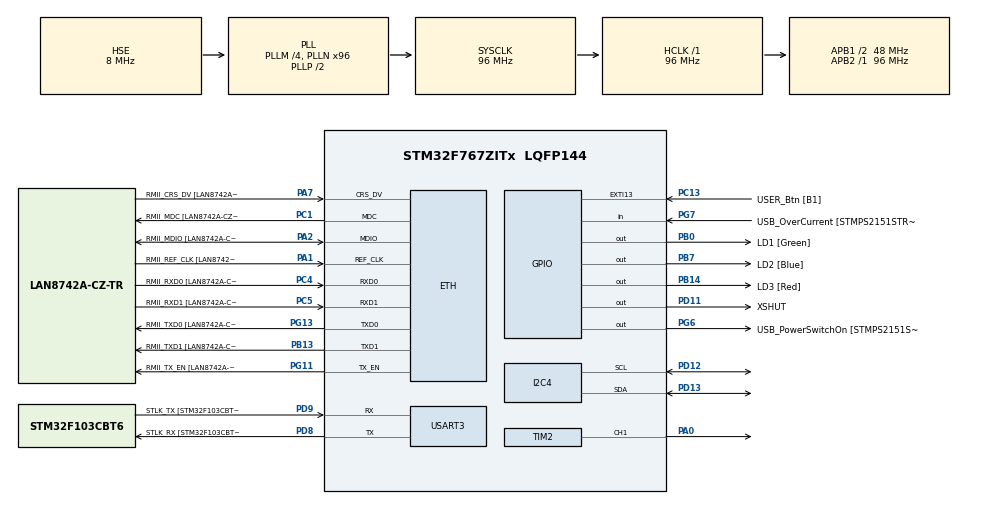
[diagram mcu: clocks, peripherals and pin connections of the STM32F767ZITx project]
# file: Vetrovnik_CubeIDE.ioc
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ETH.MediaInterface=ETH_MEDIA_INTERFACE_RMII
ETH.PHY_Name=LAN8742A_PHY_ADDRESS
ETH.PHY_Value=0
ETH.PhyAddress=0
I2C4.Timing=0x20303E5D
LWIP.LWIP_DHCP=1
LWIP.Version=v2.1.2_Cube
Mcu.Family=STM32F7
Mcu.Name=STM32F767ZITx
Mcu.Package=LQFP144
NVIC.PriorityGroup=NVIC_PRIORITYGROUP_4
NVIC.TIM3_IRQn=true\:2\:0\:true\:false\:true\:true\:true
NVIC.TIM5_IRQn=true\:1\:0\:true\:false\:true\:true\:true
NVIC.USART3_IRQn=true\:0\:0\:false\:false\:true\:true\:true
PA0/WKUP.Signal=S_TIM2_CH1_ETR
PA1.GPIO_Label=RMII_REF_CLK [LAN8742A-CZ-TR_REFCLK0]
PA1.Mode=RMII
PA1.Signal=ETH_REF_CLK
PA10.GPIO_Label=USB_ID
PA10.Signal=USB_OTG_FS_ID
PA11.GPIO_Label=USB_DM
PA11.Signal=USB_OTG_FS_DM
PA12.GPIO_Label=USB_DP
PA12.Signal=USB_OTG_FS_DP
PA13.GPIO_Label=TMS
PA13.Mode=Serial_Wire
PA13.Signal=SYS_JTMS-SWDIO
PA14.GPIO_Label=TCK
PA14.Mode=Serial_Wire
PA14.Signal=SYS_JTCK-SWCLK
PA2.GPIO_Label=RMII_MDIO [LAN8742A-CZ-TR_MDIO]
PA2.Mode=RMII
PA2.Signal=ETH_MDIO
PA7.GPIO_Label=RMII_CRS_DV [LAN8742A-CZ-TR_CRS_DV]
PA7.Mode=RMII
PA7.Signal=ETH_CRS_DV
PA8.GPIO_Label=USB_SOF [TP1]
PA8.Signal=USB_OTG_FS_SOF
PA9.GPIO_Label=USB_VBUS
PA9.Signal=USB_OTG_FS_VBUS
PB0.GPIO_Label=LD1 [Green]
PB0.Signal=GPIO_Output
PB13.GPIO_Label=RMII_TXD1 [LAN8742A-CZ-TR_TXD1]
PB13.Mode=RMII
PB13.Signal=ETH_TXD1
PB14.GPIO_Label=LD3 [Red]
PB14.Signal=GPIO_Output
PB3.GPIO_Label=SWO
PB3.Signal=SYS_JTDO-SWO
PB7.GPIO_Label=LD2 [Blue]
PB7.Signal=GPIO_Output
PC1.GPIO_Label=RMII_MDC [LAN8742A-CZ-TR_MDC]
PC1.Mode=RMII
PC1.Signal=ETH_MDC
PC13.GPIO_Label=USER_Btn [B1]
PC13.Signal=GPXTI13
PC14/OSC32_IN.Mode=LSE-External-Oscillator
PC14/OSC32_IN.Signal=RCC_OSC32_IN
PC15/OSC32_OUT.Mode=LSE-External-Oscillator
PC15/OSC32_OUT.Signal=RCC_OSC32_OUT
PC4.GPIO_Label=RMII_RXD0 [LAN8742A-CZ-TR_RXD0]
PC4.Mode=RMII
PC4.Signal=ETH_RXD0
PC5.GPIO_Label=RMII_RXD1 [LAN8742A-CZ-TR_RXD1]
PC5.Mode=RMII
PC5.Signal=ETH_RXD1
PD11.GPIO_Label=XSHUT
PD11.Signal=GPIO_Output
PD12.GPIO_Pu=GPIO_PULLUP
PD12.Mode=I2C
PD12.Signal=I2C4_SCL
PD13.GPIO_Pu=GPIO_PULLUP
PD13.Mode=I2C
PD13.Signal=I2C4_SDA
PD8.GPIO_Label=STLK_RX [STM32F103CBT6_PA3]
PD8.Mode=Asynchronous
PD8.Signal=USART3_TX
PD9.GPIO_Label=STLK_TX [STM32F103CBT6_PA2]
PD9.Mode=Asynchronous
PD9.Signal=USART3_RX
PG11.GPIO_Label=RMII_TX_EN [LAN8742A-CZ-TR_TXEN]
PG11.Mode=RMII
PG11.Signal=ETH_TX_EN
PG13.GPIO_Label=RMII_TXD0 [LAN8742A-CZ-TR_TXD0]
PG13.Mode=RMII
PG13.Signal=ETH_TXD0
PG6.GPIO_Label=USB_PowerSwitchOn [STMPS2151STR_EN]
PG6.Signal=GPIO_Output
PG7.GPIO_Label=USB_OverCurrent [STMPS2151STR_FAULT]
PG7.Signal=GPIO_Input
PH0/OSC_IN.GPIO_Label=MCO [STM32F103CBT6_PA8]
PH0/OSC_IN.Mode=HSE-External-Clock-Source
PH0/OSC_IN.Signal=RCC_OSC_IN
PH1/OSC_OUT.Mode=HSE-External-Clock-Source
PH1/OSC_OUT.Signal=RCC_OSC_OUT
ProjectManager.HeapSize=0x200
ProjectManager.StackSize=0x400
ProjectManager.TargetToolchain=STM32CubeIDE
RCC.48MHZClocksFreq_Value=24000000
RCC.AHBFreq_Value=96000000
RCC.APB1CLKDivider=RCC_HCLK_DIV2
RCC.APB1Freq_Value=48000000
RCC.APB1TimFreq_Value=96000000
RCC.APB2Freq_Value=96000000
RCC.APB2TimFreq_Value=96000000
RCC.CortexFreq_Value=96000000
RCC.HCLKFreq_Value=96000000
RCC.HSE_VALUE=8000000
RCC.HSI_VALUE=16000000
RCC.PLLM=4
RCC.PLLMUL=RCC_PLL_MUL9
RCC.PLLN=96
RCC.PLLQ=4
RCC.PLLSourceVirtual=RCC_PLLSOURCE_HSE
RCC.PRESCALERUSB=RCC_USBCLKSOURCE_PLL_DIV1_5
RCC.SYSCLKFreq_VALUE=96000000
RCC.SYSCLKSource=RCC_SYSCLKSOURCE_PLLCLK
RCC.SYSCLKSourceVirtual=RCC_SYSCLKSOURCE_PLLCLK
RCC.USBFreq_Value=48000000
RCC.VCOOutputFreq_Value=192000000
SH.S_TIM2_CH1_ETR.0=TIM2_CH1,PWM Generation1 CH1
TIM2.Channel-PWM\ Generation1\ CH1=TIM_CHANNEL_1
TIM2.Period=40000
TIM2.Prescaler=12
TIM2.Pulse-PWM\ Generation1\ CH1=1000
TIM3.Period=500
TIM3.Prescaler=4999
TIM5.Period=950
TIM5.Prescaler=4999
USART3.VirtualMode-Asynchronous=VM_ASYNC
VP_LWIP_VS_Enabled.Mode=Enabled
VP_TIM2_VS_ClockSourceINT.Mode=Internal
VP_TIM3_VS_ClockSourceINT.Mode=Internal
VP_TIM5_VS_ClockSourceINT.Mode=Internal
board=NUCLEO-F767ZI

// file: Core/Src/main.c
/* USER CODE BEGIN Header */
/**
  ******************************************************************************
  * @file           : main.c
  * @brief          : Main program body
  ******************************************************************************
  * @attention
  *
  * <h2><center>&copy; Copyright (c) 2021 STMicroelectronics.
  * All rights reserved.</center></h2>
  *
  * This software component is licensed by ST under Ultimate Liberty license
  * SLA0044, the "License"; You may not use this file except in compliance with
  * the License. You may obtain a copy of the License at:
  *                             www.st.com/SLA0044
  *
  ******************************************************************************

	 /* The WIND-Levitation-SYSTEM VARIABLES:
	  * Inputs:
	  *      dist_f     =x1     (Height   [mm])
	  *      velocity_f =x2     (Velocity [mm/s])
	  *      ref_f      =xref   (Filtered desired value, with frequency -> 'pole_ref_filter')
	  *      xd         =dxref  (First derivative of Xref)
	  *      xdd        =ddxref (Second derivative of Xref)
	  * Output:
	  *  u_k        = Controller output, goes to  PWM_FAN=(int)u_k
	  *  TIM2->CCR1 = PWM_FAN;  (Controller output PWM-duty [8000-11000])
	  * */

/* USER CODE END Header */
#include "main.h"
#include "lwip.h"

/* USER CODE BEGIN Includes */
#include "udp_echoserver.h"
#include "app_ethernet.h"
#include "VL53L0X.h"
#include "TCLab.h"
/* USER CODE END Includes */

I2C_HandleTypeDef hi2c4;

TIM_HandleTypeDef htim2;
TIM_HandleTypeDef htim3;
TIM_HandleTypeDef htim5;

UART_HandleTypeDef huart3;

void SystemClock_Config(void);
static void MX_GPIO_Init(void);
static void MX_USART3_UART_Init(void);
static void MX_I2C4_Init(void);
static void MX_TIM3_Init(void);
static void MX_TIM5_Init(void);
static void MX_TIM2_Init(void);
/* USER CODE BEGIN PFP */
extern void udp_sample(int sample);
extern struct netif gnetif;
uint8_t data_Lwip[100];
uint8_t flag_udp=0;
VL53L0X sensor1;
/* USER CODE END PFP */

int main(void)
{

  /* MCU Configuration--------------------------------------------------------*/

  /* Reset of all peripherals, Initializes the Flash interface and the Systick. */
  HAL_Init();

  /* Configure the system clock */
  SystemClock_Config();

  /* Initialize all configured peripherals */
  MX_GPIO_Init();
  MX_USART3_UART_Init();
  MX_LWIP_Init();
  MX_I2C4_Init();
  MX_TIM3_Init();
  MX_TIM5_Init();
  MX_TIM2_Init();
  /* USER CODE BEGIN 2 */

       /*
		I2C4 -PD12(SCL) PD13(SDA) PD11(XSHUT)
		PWM - TIM2 CH1, PA0
		LED - PB0(green), PB7(Blue), PB14(Red)
		USART3 - PB10 PB11
		TIM3- Interrupt for VL5310x (28ms)
		TIM5- Controller interrupt (50ms)
		TIM2- PWM ch1 PA0 orange-PA0 , brown-GND, red=5V [ MIN-8000 MAX-11000]
		MAC address- ethernetif.c
		IP address - lwip.c, main.h

		*/

		//USART_Send_Str("WindTunnel with UDP-lwIP CUBE IDE!\n\r");
		HAL_UART_Transmit(&huart3, "WINDSystem\n\r", 12, 10);

		 /* Setup TOF VL53L0X */
		 init_VL53L0X();

		 /* ENABLE INTERRUPTs */
		__HAL_UART_ENABLE_IT(&huart3, UART_IT_RXNE);
		HAL_TIM_Base_Start_IT(&htim3);
		HAL_TIM_Base_Start_IT(&htim5);

		/*Enable PWM on PA0 Ch1 TIM2*/
	    HAL_TIM_PWM_Start(&htim2,TIM_CHANNEL_1);  //PA0
		TIM2->CCR1=8000; //PWM out imas 9600 PA0
		HAL_Delay(3000);
		HAL_UART_Transmit(&huart3, "Ready\n\r", 7, 10);
		HAL_GPIO_WritePin(GPIOB, GPIO_PIN_0, 0); //GREEN ON
  /* USER CODE END 2 */

  /* Infinite loop */
  while (1)
  {

    /* USER CODE BEGIN 3 */
		/* Read a received packet from the Ethernet buffers and send it
			 to the lwIP for handling */
          // ethernetif_input(&gnetif);

	  /* Handle timeouts */
	 	//	sys_check_timeouts();

	 					 /* Button press  */
			if(HAL_GPIO_ReadPin(GPIOC, USER_Btn_Pin)==1 && flag_udp==0)
			{
				HAL_GPIO_WritePin(GPIOB,LD3_Pin,1); flag_udp=1; //RED ON
				//udp_send_custum();
			}
			else if(HAL_GPIO_ReadPin(GPIOC, USER_Btn_Pin)==0 && flag_udp==1)
			{
				HAL_GPIO_WritePin(GPIOB,LD3_Pin,0); flag_udp=0; //RED OFF
			}

  }
  /* USER CODE END 3 */
}

void SystemClock_Config(void)
{
  RCC_OscInitTypeDef RCC_OscInitStruct = {0};
  RCC_ClkInitTypeDef RCC_ClkInitStruct = {0};

  /** Configure LSE Drive Capability
  */
  HAL_PWR_EnableBkUpAccess();
  /** Configure the main internal regulator output voltage
  */
  __HAL_RCC_PWR_CLK_ENABLE();
  __HAL_PWR_VOLTAGESCALING_CONFIG(PWR_REGULATOR_VOLTAGE_SCALE3);
  /** Initializes the RCC Oscillators according to the specified parameters
  * in the RCC_OscInitTypeDef structure.
  */
  RCC_OscInitStruct.OscillatorType = RCC_OSCILLATORTYPE_HSE;
  RCC_OscInitStruct.HSEState = RCC_HSE_BYPASS;
  RCC_OscInitStruct.PLL.PLLState = RCC_PLL_ON;
  RCC_OscInitStruct.PLL.PLLSource = RCC_PLLSOURCE_HSE;
  RCC_OscInitStruct.PLL.PLLM = 4;
  RCC_OscInitStruct.PLL.PLLN = 96;
  RCC_OscInitStruct.PLL.PLLP = RCC_PLLP_DIV2;
  RCC_OscInitStruct.PLL.PLLQ = 4;
  RCC_OscInitStruct.PLL.PLLR = 2;
  if (HAL_RCC_OscConfig(&RCC_OscInitStruct) != HAL_OK)
  {
    Error_Handler();
  }
  /** Activate the Over-Drive mode
  */
  if (HAL_PWREx_EnableOverDrive() != HAL_OK)
  {
    Error_Handler();
  }
  /** Initializes the CPU, AHB and APB buses clocks
  */
  RCC_ClkInitStruct.ClockType = RCC_CLOCKTYPE_HCLK|RCC_CLOCKTYPE_SYSCLK
                              |RCC_CLOCKTYPE_PCLK1|RCC_CLOCKTYPE_PCLK2;
  RCC_ClkInitStruct.SYSCLKSource = RCC_SYSCLKSOURCE_PLLCLK;
  RCC_ClkInitStruct.AHBCLKDivider = RCC_SYSCLK_DIV1;
  RCC_ClkInitStruct.APB1CLKDivider = RCC_HCLK_DIV2;
  RCC_ClkInitStruct.APB2CLKDivider = RCC_HCLK_DIV1;

  if (HAL_RCC_ClockConfig(&RCC_ClkInitStruct, FLASH_LATENCY_3) != HAL_OK)
  {
    Error_Handler();
  }
}

static void MX_I2C4_Init(void)
{

  hi2c4.Instance = I2C4;
  hi2c4.Init.Timing = 0x20303E5D;
  hi2c4.Init.OwnAddress1 = 0;
  hi2c4.Init.AddressingMode = I2C_ADDRESSINGMODE_7BIT;
  hi2c4.Init.DualAddressMode = I2C_DUALADDRESS_DISABLE;
  hi2c4.Init.OwnAddress2 = 0;
  hi2c4.Init.OwnAddress2Masks = I2C_OA2_NOMASK;
  hi2c4.Init.GeneralCallMode = I2C_GENERALCALL_DISABLE;
  hi2c4.Init.NoStretchMode = I2C_NOSTRETCH_DISABLE;
  if (HAL_I2C_Init(&hi2c4) != HAL_OK)
  {
    Error_Handler();
  }
  /** Configure Analogue filter
  */
  if (HAL_I2CEx_ConfigAnalogFilter(&hi2c4, I2C_ANALOGFILTER_ENABLE) != HAL_OK)
  {
    Error_Handler();
  }
  /** Configure Digital filter
  */
  if (HAL_I2CEx_ConfigDigitalFilter(&hi2c4, 0) != HAL_OK)
  {
    Error_Handler();
  }

}

static void MX_TIM2_Init(void)
{

  TIM_ClockConfigTypeDef sClockSourceConfig = {0};
  TIM_MasterConfigTypeDef sMasterConfig = {0};
  TIM_OC_InitTypeDef sConfigOC = {0};

  htim2.Instance = TIM2;
  htim2.Init.Prescaler = 12;
  htim2.Init.CounterMode = TIM_COUNTERMODE_UP;
  htim2.Init.Period = 40000;
  htim2.Init.ClockDivision = TIM_CLOCKDIVISION_DIV1;
  htim2.Init.AutoReloadPreload = TIM_AUTORELOAD_PRELOAD_DISABLE;
  if (HAL_TIM_Base_Init(&htim2) != HAL_OK)
  {
    Error_Handler();
  }
  sClockSourceConfig.ClockSource = TIM_CLOCKSOURCE_INTERNAL;
  if (HAL_TIM_ConfigClockSource(&htim2, &sClockSourceConfig) != HAL_OK)
  {
    Error_Handler();
  }
  if (HAL_TIM_PWM_Init(&htim2) != HAL_OK)
  {
    Error_Handler();
  }
  sMasterConfig.MasterOutputTrigger = TIM_TRGO_RESET;
  sMasterConfig.MasterSlaveMode = TIM_MASTERSLAVEMODE_DISABLE;
  if (HAL_TIMEx_MasterConfigSynchronization(&htim2, &sMasterConfig) != HAL_OK)
  {
    Error_Handler();
  }
  sConfigOC.OCMode = TIM_OCMODE_PWM1;
  sConfigOC.Pulse = 1000;
  sConfigOC.OCPolarity = TIM_OCPOLARITY_HIGH;
  sConfigOC.OCFastMode = TIM_OCFAST_DISABLE;
  if (HAL_TIM_PWM_ConfigChannel(&htim2, &sConfigOC, TIM_CHANNEL_1) != HAL_OK)
  {
    Error_Handler();
  }
  HAL_TIM_MspPostInit(&htim2);

}

static void MX_TIM3_Init(void)
{

  TIM_ClockConfigTypeDef sClockSourceConfig = {0};
  TIM_MasterConfigTypeDef sMasterConfig = {0};

  htim3.Instance = TIM3;
  htim3.Init.Prescaler = 4999;
  htim3.Init.CounterMode = TIM_COUNTERMODE_UP;
  htim3.Init.Period = 500;
  htim3.Init.ClockDivision = TIM_CLOCKDIVISION_DIV1;
  htim3.Init.AutoReloadPreload = TIM_AUTORELOAD_PRELOAD_DISABLE;
  if (HAL_TIM_Base_Init(&htim3) != HAL_OK)
  {
    Error_Handler();
  }
  sClockSourceConfig.ClockSource = TIM_CLOCKSOURCE_INTERNAL;
  if (HAL_TIM_ConfigClockSource(&htim3, &sClockSourceConfig) != HAL_OK)
  {
    Error_Handler();
  }
  sMasterConfig.MasterOutputTrigger = TIM_TRGO_RESET;
  sMasterConfig.MasterSlaveMode = TIM_MASTERSLAVEMODE_DISABLE;
  if (HAL_TIMEx_MasterConfigSynchronization(&htim3, &sMasterConfig) != HAL_OK)
  {
    Error_Handler();
  }

}

static void MX_TIM5_Init(void)
{

  TIM_ClockConfigTypeDef sClockSourceConfig = {0};
  TIM_MasterConfigTypeDef sMasterConfig = {0};

  htim5.Instance = TIM5;
  htim5.Init.Prescaler = 4999;
  htim5.Init.CounterMode = TIM_COUNTERMODE_UP;
  htim5.Init.Period = 950;
  htim5.Init.ClockDivision = TIM_CLOCKDIVISION_DIV1;
  htim5.Init.AutoReloadPreload = TIM_AUTORELOAD_PRELOAD_DISABLE;
  if (HAL_TIM_Base_Init(&htim5) != HAL_OK)
  {
    Error_Handler();
  }
  sClockSourceConfig.ClockSource = TIM_CLOCKSOURCE_INTERNAL;
  if (HAL_TIM_ConfigClockSource(&htim5, &sClockSourceConfig) != HAL_OK)
  {
    Error_Handler();
  }
  sMasterConfig.MasterOutputTrigger = TIM_TRGO_RESET;
  sMasterConfig.MasterSlaveMode = TIM_MASTERSLAVEMODE_DISABLE;
  if (HAL_TIMEx_MasterConfigSynchronization(&htim5, &sMasterConfig) != HAL_OK)
  {
    Error_Handler();
  }

}

static void MX_USART3_UART_Init(void)
{

  huart3.Instance = USART3;
  huart3.Init.BaudRate = 115200;
  huart3.Init.WordLength = UART_WORDLENGTH_8B;
  huart3.Init.StopBits = UART_STOPBITS_1;
  huart3.Init.Parity = UART_PARITY_NONE;
  huart3.Init.Mode = UART_MODE_TX_RX;
  huart3.Init.HwFlowCtl = UART_HWCONTROL_NONE;
  huart3.Init.OverSampling = UART_OVERSAMPLING_16;
  huart3.Init.OneBitSampling = UART_ONE_BIT_SAMPLE_DISABLE;
  huart3.AdvancedInit.AdvFeatureInit = UART_ADVFEATURE_NO_INIT;
  if (HAL_UART_Init(&huart3) != HAL_OK)
  {
    Error_Handler();
  }

}

static void MX_GPIO_Init(void)
{
  GPIO_InitTypeDef GPIO_InitStruct = {0};

  /* GPIO Ports Clock Enable */
  __HAL_RCC_GPIOC_CLK_ENABLE();
  __HAL_RCC_GPIOH_CLK_ENABLE();
  __HAL_RCC_GPIOA_CLK_ENABLE();
  __HAL_RCC_GPIOB_CLK_ENABLE();
  __HAL_RCC_GPIOD_CLK_ENABLE();
  __HAL_RCC_GPIOG_CLK_ENABLE();

  /*Configure GPIO pin Output Level */
  HAL_GPIO_WritePin(GPIOB, LD1_Pin|LD3_Pin|LD2_Pin, GPIO_PIN_RESET);

  /*Configure GPIO pin Output Level */
  HAL_GPIO_WritePin(XSHUT_GPIO_Port, XSHUT_Pin, GPIO_PIN_RESET);

  /*Configure GPIO pin Output Level */
  HAL_GPIO_WritePin(USB_PowerSwitchOn_GPIO_Port, USB_PowerSwitchOn_Pin, GPIO_PIN_RESET);

  /*Configure GPIO pin : USER_Btn_Pin */
  GPIO_InitStruct.Pin = USER_Btn_Pin;
  GPIO_InitStruct.Mode = GPIO_MODE_IT_RISING;
  GPIO_InitStruct.Pull = GPIO_NOPULL;
  HAL_GPIO_Init(USER_Btn_GPIO_Port, &GPIO_InitStruct);

  /*Configure GPIO pins : LD1_Pin LD3_Pin LD2_Pin */
  GPIO_InitStruct.Pin = LD1_Pin|LD3_Pin|LD2_Pin;
  GPIO_InitStruct.Mode = GPIO_MODE_OUTPUT_PP;
  GPIO_InitStruct.Pull = GPIO_NOPULL;
  GPIO_InitStruct.Speed = GPIO_SPEED_FREQ_LOW;
  HAL_GPIO_Init(GPIOB, &GPIO_InitStruct);

  /*Configure GPIO pin : XSHUT_Pin */
  GPIO_InitStruct.Pin = XSHUT_Pin;
  GPIO_InitStruct.Mode = GPIO_MODE_OUTPUT_PP;
  GPIO_InitStruct.Pull = GPIO_NOPULL;
  GPIO_InitStruct.Speed = GPIO_SPEED_FREQ_LOW;
  HAL_GPIO_Init(XSHUT_GPIO_Port, &GPIO_InitStruct);

  /*Configure GPIO pin : USB_PowerSwitchOn_Pin */
  GPIO_InitStruct.Pin = USB_PowerSwitchOn_Pin;
  GPIO_InitStruct.Mode = GPIO_MODE_OUTPUT_PP;
  GPIO_InitStruct.Pull = GPIO_NOPULL;
  GPIO_InitStruct.Speed = GPIO_SPEED_FREQ_LOW;
  HAL_GPIO_Init(USB_PowerSwitchOn_GPIO_Port, &GPIO_InitStruct);

  /*Configure GPIO pin : USB_OverCurrent_Pin */
  GPIO_InitStruct.Pin = USB_OverCurrent_Pin;
  GPIO_InitStruct.Mode = GPIO_MODE_INPUT;
  GPIO_InitStruct.Pull = GPIO_NOPULL;
  HAL_GPIO_Init(USB_OverCurrent_GPIO_Port, &GPIO_InitStruct);

  /*Configure GPIO pins : USB_SOF_Pin USB_ID_Pin USB_DM_Pin USB_DP_Pin */
  GPIO_InitStruct.Pin = USB_SOF_Pin|USB_ID_Pin|USB_DM_Pin|USB_DP_Pin;
  GPIO_InitStruct.Mode = GPIO_MODE_AF_PP;
  GPIO_InitStruct.Pull = GPIO_NOPULL;
  GPIO_InitStruct.Speed = GPIO_SPEED_FREQ_VERY_HIGH;
  GPIO_InitStruct.Alternate = GPIO_AF10_OTG_FS;
  HAL_GPIO_Init(GPIOA, &GPIO_InitStruct);

  /*Configure GPIO pin : USB_VBUS_Pin */
  GPIO_InitStruct.Pin = USB_VBUS_Pin;
  GPIO_InitStruct.Mode = GPIO_MODE_INPUT;
  GPIO_InitStruct.Pull = GPIO_NOPULL;
  HAL_GPIO_Init(USB_VBUS_GPIO_Port, &GPIO_InitStruct);

}

void Error_Handler(void)
{
}
